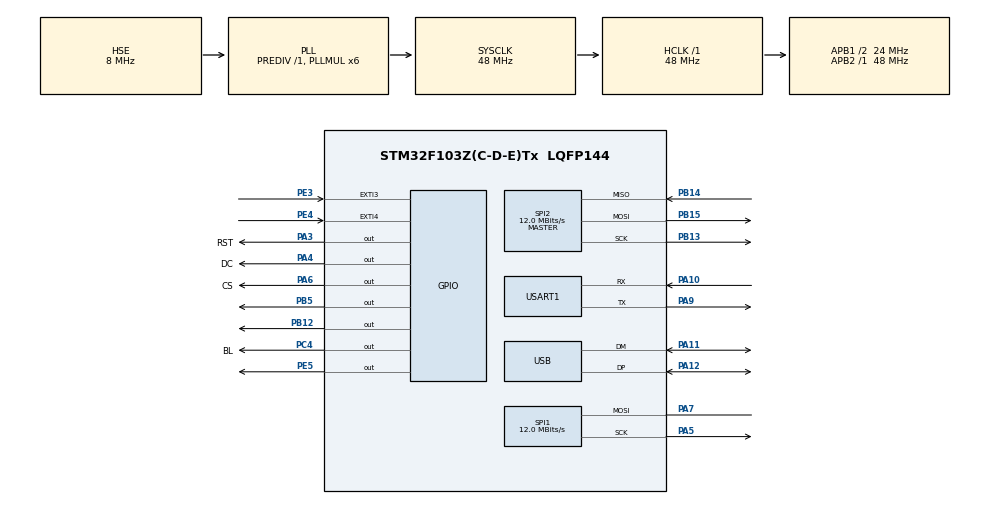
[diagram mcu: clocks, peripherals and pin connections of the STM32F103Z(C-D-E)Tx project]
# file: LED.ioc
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Dma.Request0=SPI1_TX
Dma.Request1=SPI1_RX
Dma.SPI1_RX.1.Direction=DMA_PERIPH_TO_MEMORY
Dma.SPI1_RX.1.Instance=DMA1_Channel2
Dma.SPI1_RX.1.MemDataAlignment=DMA_MDATAALIGN_BYTE
Dma.SPI1_RX.1.MemInc=DMA_MINC_ENABLE
Dma.SPI1_RX.1.Mode=DMA_NORMAL
Dma.SPI1_RX.1.PeriphDataAlignment=DMA_PDATAALIGN_BYTE
Dma.SPI1_RX.1.PeriphInc=DMA_PINC_DISABLE
Dma.SPI1_RX.1.Priority=DMA_PRIORITY_LOW
Dma.SPI1_TX.0.Direction=DMA_MEMORY_TO_PERIPH
Dma.SPI1_TX.0.Instance=DMA1_Channel3
Dma.SPI1_TX.0.MemDataAlignment=DMA_MDATAALIGN_BYTE
Dma.SPI1_TX.0.MemInc=DMA_MINC_ENABLE
Dma.SPI1_TX.0.Mode=DMA_NORMAL
Dma.SPI1_TX.0.PeriphDataAlignment=DMA_PDATAALIGN_BYTE
Dma.SPI1_TX.0.PeriphInc=DMA_PINC_DISABLE
Dma.SPI1_TX.0.Priority=DMA_PRIORITY_LOW
FATFS._MAX_SS=4096
FREERTOS.HEAP_NUMBER=4
FREERTOS.Tasks01=defaultTask,0,128,StartDefaultTask,Default,NULL,Dynamic,NULL,NULL;LED,0,128,LED_FLASH,Default,NULL,Dynamic,NULL,NULL
FREERTOS.configTOTAL_HEAP_SIZE=3071
Mcu.Family=STM32F1
Mcu.Name=STM32F103Z(C-D-E)Tx
Mcu.Package=LQFP144
NVIC.DMA1_Channel2_IRQn=true\:5\:0\:false\:false\:true\:true\:false\:true
NVIC.DMA1_Channel3_IRQn=true\:5\:0\:false\:false\:true\:true\:false\:true
NVIC.EXTI3_IRQn=true\:5\:0\:false\:false\:true\:true\:true\:true
NVIC.EXTI4_IRQn=true\:5\:0\:false\:false\:true\:true\:true\:true
NVIC.PriorityGroup=NVIC_PRIORITYGROUP_4
NVIC.USB_LP_CAN1_RX0_IRQn=true\:5\:0\:false\:false\:true\:true\:false\:true
OSC_IN.Mode=HSE-External-Oscillator
OSC_IN.Signal=RCC_OSC_IN
OSC_OUT.Mode=HSE-External-Oscillator
OSC_OUT.Signal=RCC_OSC_OUT
PA10.Mode=Asynchronous
PA10.Signal=USART1_RX
PA11.Mode=Device
PA11.Signal=USB_DM
PA12.Mode=Device
PA12.Signal=USB_DP
PA13.Mode=Trace_Asynchronous_SW
PA13.Signal=SYS_JTMS-SWDIO
PA14.Mode=Trace_Asynchronous_SW
PA14.Signal=SYS_JTCK-SWCLK
PA3.GPIO_Label=RST
PA3.Signal=GPIO_Output
PA4.GPIO_Label=DC
PA4.Signal=GPIO_Output
PA5.Mode=Simplex_Bidirectional_Master
PA5.Signal=SPI1_SCK
PA6.GPIO_Label=CS
PA6.Signal=GPIO_Output
PA7.Mode=Simplex_Bidirectional_Master
PA7.Signal=SPI1_MOSI
PA9.Mode=Asynchronous
PA9.Signal=USART1_TX
PB12.Signal=GPIO_Output
PB13.Mode=Full_Duplex_Master
PB13.Signal=SPI2_SCK
PB14.Mode=Full_Duplex_Master
PB14.Signal=SPI2_MISO
PB15.Mode=Full_Duplex_Master
PB15.Signal=SPI2_MOSI
PB3.Mode=Trace_Asynchronous_SW
PB3.Signal=SYS_JTDO-TRACESWO
PB5.Signal=GPIO_Output
PC14-OSC32_IN.Mode=LSE-External-Oscillator
PC14-OSC32_IN.Signal=RCC_OSC32_IN
PC15-OSC32_OUT.Mode=LSE-External-Oscillator
PC15-OSC32_OUT.Signal=RCC_OSC32_OUT
PC4.GPIO_Label=BL
PC4.GPIO_Speed=GPIO_SPEED_FREQ_MEDIUM
PC4.PinState=GPIO_PIN_SET
PC4.Signal=GPIO_Output
PE3.GPIO_ModeDefaultEXTI=GPIO_MODE_IT_FALLING
PE3.Signal=GPXTI3
PE4.GPIO_ModeDefaultEXTI=GPIO_MODE_IT_FALLING
PE4.Signal=GPXTI4
PE5.Signal=GPIO_Output
ProjectManager.HeapSize=0x200
ProjectManager.StackSize=0x400
ProjectManager.TargetToolchain=MDK-ARM V5.32
RCC.AHBFreq_Value=48000000
RCC.APB1CLKDivider=RCC_HCLK_DIV2
RCC.APB1Freq_Value=24000000
RCC.APB1TimFreq_Value=48000000
RCC.APB2Freq_Value=48000000
RCC.APB2TimFreq_Value=48000000
RCC.HCLKFreq_Value=48000000
RCC.PLLMUL=RCC_PLL_MUL6
RCC.PLLSourceVirtual=RCC_PLLSOURCE_HSE
RCC.SYSCLKFreq_VALUE=48000000
RCC.SYSCLKSource=RCC_SYSCLKSOURCE_PLLCLK
RCC.USBFreq_Value=48000000
SPI1.BaudRatePrescaler=SPI_BAUDRATEPRESCALER_4
SPI1.CLKPhase=SPI_PHASE_2EDGE
SPI1.CLKPolarity=SPI_POLARITY_HIGH
SPI1.CalculateBaudRate=12.0 MBits/s
SPI1.Direction=SPI_DIRECTION_1LINE
SPI1.Mode=SPI_MODE_MASTER
SPI1.VirtualType=VM_MASTER
SPI2.CLKPhase=SPI_PHASE_2EDGE
SPI2.CLKPolarity=SPI_POLARITY_HIGH
SPI2.CalculateBaudRate=12.0 MBits/s
SPI2.Direction=SPI_DIRECTION_2LINES
SPI2.Mode=SPI_MODE_MASTER
SPI2.VirtualType=VM_MASTER
USART1.VirtualMode=VM_ASYNC
USB_DEVICE.CLASS_NAME_FS=MSC
USB_DEVICE.MSC_MEDIA_PACKET=4096
USB_DEVICE.USBD_SELF_POWERED=1
USB_DEVICE.VirtualMode=Msc
USB_DEVICE.VirtualModeFS=Msc_FS
VP_FATFS_VS_Generic.Mode=User_defined
VP_FREERTOS_VS_CMSIS_V1.Mode=CMSIS_V1
VP_USB_DEVICE_VS_USB_DEVICE_MSC_FS.Mode=MSC_FS
board=custom

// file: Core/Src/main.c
/* USER CODE BEGIN Header */
/**
  ******************************************************************************
  * @file           : main.c
  * @brief          : Main program body
  ******************************************************************************
  * @attention
  *
  * Copyright (c) 2022 STMicroelectronics.
  * All rights reserved.
  *
  * This software is licensed under terms that can be found in the LICENSE file
  * in the root directory of this software component.
  * If no LICENSE file comes with this software, it is provided AS-IS.
  *
  ******************************************************************************
  */
/* USER CODE END Header */
#include "main.h"
#include "cmsis_os.h"
#include "dma.h"
#include "fatfs.h"
#include "spi.h"
#include "usart.h"
#include "usb_device.h"
#include "gpio.h"

void SystemClock_Config(void);
void MX_FREERTOS_Init(void);

/* USER CODE BEGIN 0 */
int i;
u8 byte_test = 0;
u8 Char_Send[4] = {0x01,0x02,0x03,0x03};
u8 Char_Receive[4] = {0x08,0x08,0x08,0x08};

/* USER CODE END 0 */

int main(void)
{

  /* MCU Configuration--------------------------------------------------------*/

  /* Reset of all peripherals, Initializes the Flash interface and the Systick. */
  HAL_Init();

  /* Configure the system clock */
  SystemClock_Config();

  /* Initialize all configured peripherals */
  MX_GPIO_Init();
  MX_SPI1_Init();
  MX_DMA_Init();
  MX_SPI2_Init();
  MX_USART1_UART_Init();
  MX_FATFS_Init();
  /* USER CODE BEGIN 2 */
	MX_USB_DEVICE_Init();
	HAL_Delay(500);
	{
	//W25Q16_EMPTY();
//			HAL_Delay(500);
//			printf("%c",Char_Receive[0]);
//			printf("%c",Char_Receive[1]);
//			printf("%c",Char_Receive[2]);
//			printf("%c",Char_Receive[3]);

//			SPI_Flash_Read(Char_Receive ,0x000000 ,4);
//
//			printf("%c",Char_Receive[0]);
//			printf("%c",Char_Receive[1]);
//			printf("%c",Char_Receive[2]);
//			printf("%c",Char_Receive[3]);
	}

	//BSP_W25Qx_Erase_Block(0x000000);

	//W25Q16_WRITE(Char_Send,0x000000,4);
	//W25X_Flash_Write_Page(Char_Send , 0x000000 , 4);
//	SPI_Flash_Read(Char_Receive ,0x000000 ,4);
//			printf("%c",Char_Receive[0]);
//			printf("%c",Char_Receive[1]);
//			printf("%c",Char_Receive[2]);
//			printf("%c",Char_Receive[3]);

	/* USER CODE END 2 */

  /* Call init function for freertos objects (in freertos.c) */
  MX_FREERTOS_Init();
  /* Start scheduler */
  osKernelStart();

  /* We should never get here as control is now taken by the scheduler */
  /* Infinite loop */
  while (1)
  {

  }
}

void SystemClock_Config(void)
{
  RCC_OscInitTypeDef RCC_OscInitStruct = {0};
  RCC_ClkInitTypeDef RCC_ClkInitStruct = {0};
  RCC_PeriphCLKInitTypeDef PeriphClkInit = {0};

  /** Initializes the RCC Oscillators according to the specified parameters
  * in the RCC_OscInitTypeDef structure.
  */
  RCC_OscInitStruct.OscillatorType = RCC_OSCILLATORTYPE_HSE;
  RCC_OscInitStruct.HSEState = RCC_HSE_ON;
  RCC_OscInitStruct.HSEPredivValue = RCC_HSE_PREDIV_DIV1;
  RCC_OscInitStruct.HSIState = RCC_HSI_ON;
  RCC_OscInitStruct.PLL.PLLState = RCC_PLL_ON;
  RCC_OscInitStruct.PLL.PLLSource = RCC_PLLSOURCE_HSE;
  RCC_OscInitStruct.PLL.PLLMUL = RCC_PLL_MUL6;
  if (HAL_RCC_OscConfig(&RCC_OscInitStruct) != HAL_OK)
  {
    Error_Handler();
  }
  /** Initializes the CPU, AHB and APB buses clocks
  */
  RCC_ClkInitStruct.ClockType = RCC_CLOCKTYPE_HCLK|RCC_CLOCKTYPE_SYSCLK
                              |RCC_CLOCKTYPE_PCLK1|RCC_CLOCKTYPE_PCLK2;
  RCC_ClkInitStruct.SYSCLKSource = RCC_SYSCLKSOURCE_PLLCLK;
  RCC_ClkInitStruct.AHBCLKDivider = RCC_SYSCLK_DIV1;
  RCC_ClkInitStruct.APB1CLKDivider = RCC_HCLK_DIV2;
  RCC_ClkInitStruct.APB2CLKDivider = RCC_HCLK_DIV1;

  if (HAL_RCC_ClockConfig(&RCC_ClkInitStruct, FLASH_LATENCY_1) != HAL_OK)
  {
    Error_Handler();
  }
  PeriphClkInit.PeriphClockSelection = RCC_PERIPHCLK_USB;
  PeriphClkInit.UsbClockSelection = RCC_USBCLKSOURCE_PLL;
  if (HAL_RCCEx_PeriphCLKConfig(&PeriphClkInit) != HAL_OK)
  {
    Error_Handler();
  }
}

void Error_Handler(void)
{
  __disable_irq();
  while (1)
  {
  }
}

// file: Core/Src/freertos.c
/* USER CODE BEGIN Header */
/**
  ******************************************************************************
  * File Name          : freertos.c
  * Description        : Code for freertos applications
  ******************************************************************************
  * @attention
  *
  * Copyright (c) 2022 STMicroelectronics.
  * All rights reserved.
  *
  * This software is licensed under terms that can be found in the LICENSE file
  * in the root directory of this software component.
  * If no LICENSE file comes with this software, it is provided AS-IS.
  *
  ******************************************************************************
  */
/* USER CODE END Header */

#include "FreeRTOS.h"
#include "task.h"
#include "main.h"
#include "cmsis_os.h"

/* USER CODE BEGIN Includes */
#include "LCD_task.h"
#include "button.h"

/* USER CODE END Includes */

osThreadId defaultTaskHandle;
osThreadId LEDHandle;

/* USER CODE BEGIN FunctionPrototypes */
osThreadId LCD_FLUSHHandle;
osThreadId Button_TaskHHandle;
osThreadId Word_TaskHHandle;
osThreadId Gemetry_TaskHandle;
/* USER CODE END FunctionPrototypes */

void StartDefaultTask(void const * argument);
void LED_FLASH(void const * argument);

extern void MX_USB_DEVICE_Init(void);
void MX_FREERTOS_Init(void); /* (MISRA C 2004 rule 8.1) */

/* GetIdleTaskMemory prototype (linked to static allocation support) */
void vApplicationGetIdleTaskMemory( StaticTask_t **ppxIdleTaskTCBBuffer, StackType_t **ppxIdleTaskStackBuffer, uint32_t *pulIdleTaskStackSize );

/* USER CODE BEGIN GET_IDLE_TASK_MEMORY */
static StaticTask_t xIdleTaskTCBBuffer;
static StackType_t xIdleStack[configMINIMAL_STACK_SIZE];

void vApplicationGetIdleTaskMemory( StaticTask_t **ppxIdleTaskTCBBuffer, StackType_t **ppxIdleTaskStackBuffer, uint32_t *pulIdleTaskStackSize )
{
  *ppxIdleTaskTCBBuffer = &xIdleTaskTCBBuffer;
  *ppxIdleTaskStackBuffer = &xIdleStack[0];
  *pulIdleTaskStackSize = configMINIMAL_STACK_SIZE;
  /* place for user code */
}
/* USER CODE END GET_IDLE_TASK_MEMORY */

void MX_FREERTOS_Init(void) {
  /* USER CODE BEGIN Init */
	vSemaphoreCreateBinary( KEY_1_Handle);
	vSemaphoreCreateBinary( KEY_2_Handle);
	LCD_Handle = xSemaphoreCreateMutex();

  /* USER CODE END Init */

  /* Create the thread(s) */
  /* definition and creation of defaultTask */
  osThreadDef(defaultTask, StartDefaultTask, osPriorityNormal, 0, 128);
  defaultTaskHandle = osThreadCreate(osThread(defaultTask), NULL);

  /* definition and creation of LED */
  osThreadDef(LED, LED_FLASH, osPriorityNormal, 0, 128);
  LEDHandle = osThreadCreate(osThread(LED), NULL);

  /* USER CODE BEGIN RTOS_THREADS */
  /* add threads, ... */

//	 osThreadDef( LCD_FLUSH ,
//								LCD_FLUSH_Task,
//	              +1,
//								0,
//	              128);
//  LCD_FLUSHHandle = osThreadCreate(osThread(LCD_FLUSH), NULL);
//
////	xTaskCreate( Button_detect_TASK , "handle_key",128 ,NULL, 2 ,NULL);
//	 osThreadDef( Button_Task ,
//								Button_detect_TASK,
//	              osPriorityAboveNormal,
//								0,
//	              32);
//  Button_TaskHHandle = osThreadCreate(osThread(Button_Task), NULL);

//	 osThreadDef( Word_Task ,
//								trends_word_task,
//	              0,
//								0,
//	              32);
//  Word_TaskHHandle = osThreadCreate(osThread(Word_Task), NULL);
//
//	 osThreadDef( Gemetry_Task ,
//								trends_gemetry_task,
//	              osPriorityNormal,
//								0,
//	              32);
//  Gemetry_TaskHandle = osThreadCreate(osThread(Gemetry_Task), NULL);

//	 osThreadDef(LVGL_FLUSH, LVGL_Fresh_Task, osPriorityNormal, 0, 128);
//	 LVGL_FLUSHHandle = osThreadCreate(osThread(LVGL_FLUSH), NULL);

  /* USER CODE END RTOS_THREADS */

}

void StartDefaultTask(void const * argument)
{
  /* init code for USB_DEVICE */
  MX_USB_DEVICE_Init();
  for(;;)
  {
    osDelay(1);
  }
}

void LED_FLASH(void const * argument)
{
  for(;;)
  {
    osDelay(1);
  }
}
